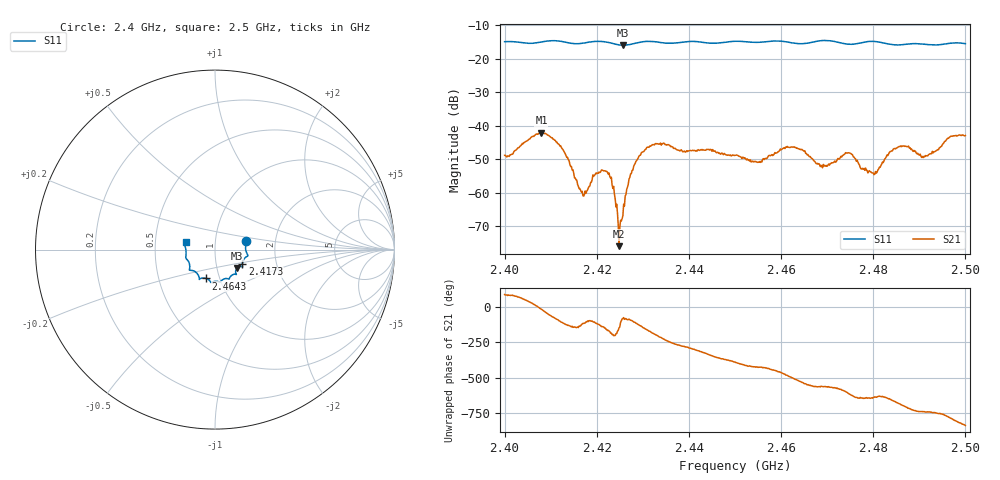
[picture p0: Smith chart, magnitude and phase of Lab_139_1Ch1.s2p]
# Hz S RI R 50
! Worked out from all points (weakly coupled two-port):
!   601 points, 2.4 GHz to 2.5 GHz, reference 50 ohm
!   highest |S21| = -42.04 dB at 2.408 GHz (marker M1); lowest = -75.9 dB at 2.4248 GHz (marker M2)
!   lowest |S11| = -15.9 dB at 2.4257 GHz (marker M3), VSWR 1.38, Z = 62.5 - j13.1 ohm
!   |S11| at or under -10 dB: start of sweep to end of sweep
!   S12 and S22 are empty: the file has one direction only
!   S11 on the Smith chart (normalised r, x): 2.4 GHz: 1.41, +0.14; 2.4173 GHz: 1.34, -0.23; 2.4643 GHz: 0.86, -0.28; 2.5 GHz: 0.72, +0.06
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2.4e9  0.1735 0.0493  0.000205 0.00364  0 0  0 0
2.408e9  0.1778 -0.0208  0.00759 -0.00224  0 0  0 0
2.412667e9  0.1762 -0.0394  -0.00179 -0.00407  0 0  0 0
2.416667e9  0.1531 -0.0746  -0.000595 -0.000839  0 0  0 0
2.417333e9  0.1521 -0.0821  -0.000395 -0.000873  0 0  0 0
2.422167e9  0.1507 -0.0947  -0.00198 -0.00071  0 0  0 0
2.423333e9  0.1425 -0.0938  -0.00126 0.00033  0 0  0 0
2.424833e9  0.1291 -0.0971  -0.000136 -8.65e-05  0 0  0 0
2.425667e9  0.1227 -0.1022  6.25e-05 -0.000453  0 0  0 0
2.428667e9  0.1154 -0.129  -0.00136 -0.00273  0 0  0 0
2.433333e9  0.1127 -0.137  -0.00485 0.00237  0 0  0 0
2.45e9  0.0293 -0.1808  0.00322 -0.00171  0 0  0 0
2.455333e9  -0.000958 -0.1769  0.00127 -0.00266  0 0  0 0
2.464333e9  -0.0499 -0.1607  -0.00431 -0.000958  0 0  0 0
2.466667e9  -0.0759 -0.1596  -0.00315 0.000896  0 0  0 0
2.4695e9  -0.0878 -0.1663  -0.00242 0.000889  0 0  0 0
2.474667e9  -0.1029 -0.1294  -0.00134 0.00375  0 0  0 0
2.480167e9  -0.1429 -0.1128  0.000222 0.00186  0 0  0 0
2.483333e9  -0.1404 -0.0898  0.00111 0.00364  0 0  0 0
2.487167e9  -0.156 -0.0556  0.00478 0.00121  0 0  0 0
2.491333e9  -0.1616 -0.0319  0.00339 -0.00125  0 0  0 0
2.5e9  -0.1634 0.0421  -0.00296 -0.00655  0 0  0 0
